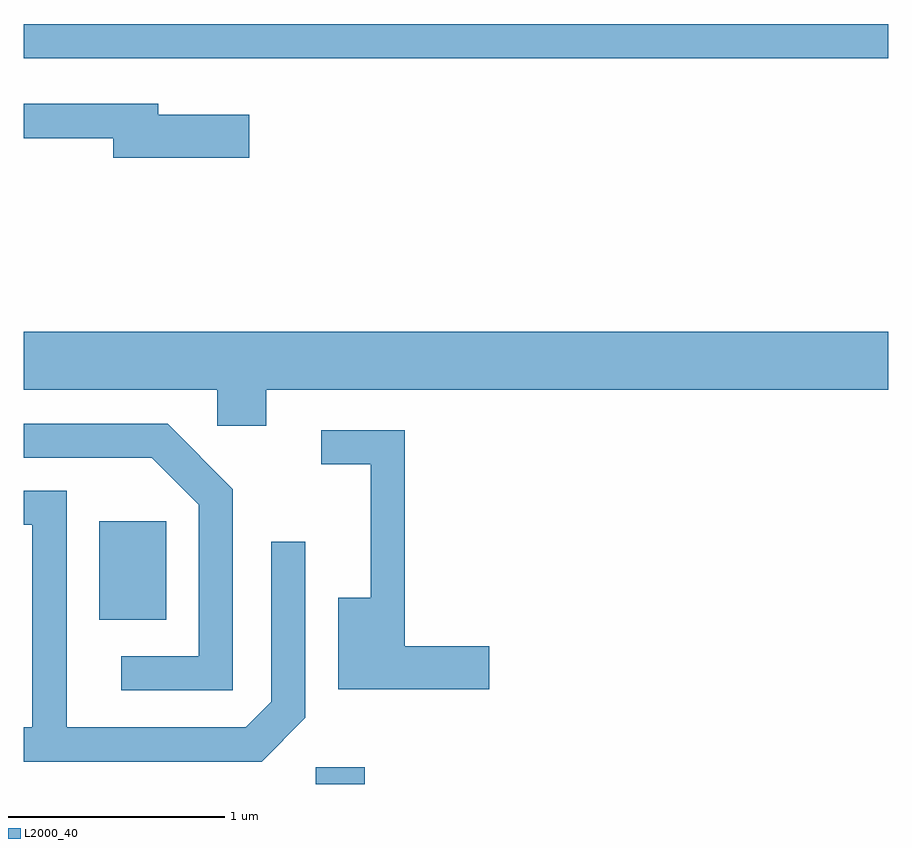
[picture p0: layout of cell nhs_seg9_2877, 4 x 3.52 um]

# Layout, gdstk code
import gdstk
lib = gdstk.Library(unit=1e-6, precision=1e-09)
def R(c, l, rs):  # rectangles x0, y0, x1, y1
    for r in rs: c.add(gdstk.rectangle(r[:2], r[2:], *l))
def P(c, l, *ps):  # polygons
    for p in ps: c.add(gdstk.Polygon(p, *l))
L2000_40 = (2000, 40)

nhs_seg9_2877 = lib.new_cell('nhs_seg9_2877')
R(nhs_seg9_2877, L2000_40, [(270.961,1994.432,271.189,1994.509), (269.961,1995.191,270.269,1995.649), (269.611,1997.791,273.611,1997.949)])
P(nhs_seg9_2877, L2000_40, [(270.654,1997.529),(270.234,1997.529),(270.234,1997.579),(269.611,1997.579),(269.611,1997.421),(270.026,1997.421),(270.026,1997.331),(270.654,1997.331)],
  [(270.734,1996.256),(273.611,1996.256),(273.611,1996.524),(269.611,1996.524),(269.611,1996.256),(270.506,1996.256),(270.506,1996.091),(270.734,1996.091)],
  [(270.579,1995.797),(270.277,1996.099),(269.611,1996.099),(269.611,1995.941),(270.204,1995.941),(270.421,1995.724),(270.421,1995.024),(270.063,1995.024),(270.063,1994.866),(270.579,1994.866)],
  [(271.764,1995.069),(271.374,1995.069),(271.374,1996.069),(270.988,1996.069),(270.988,1995.911),(271.216,1995.911),(271.216,1995.294),(271.066,1995.294),(271.066,1994.871),(271.764,1994.871)],
  [(270.914,1994.739),(270.914,1995.553),(270.756,1995.553),(270.756,1994.812),(270.639,1994.694),(269.809,1994.694),(269.809,1995.789),(269.611,1995.789),(269.611,1995.631),(269.651,1995.631),(269.651,1994.694),(269.611,1994.694),(269.611,1994.536),(270.712,1994.536)])

lib.write_gds('nhs_seg9_2877.gds')
